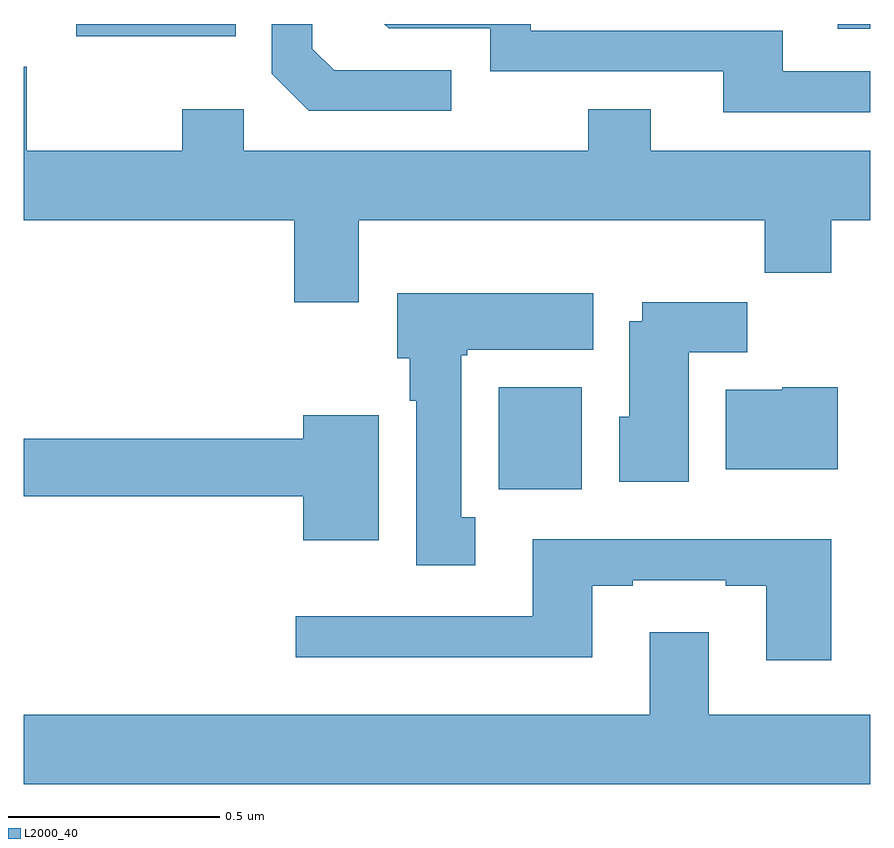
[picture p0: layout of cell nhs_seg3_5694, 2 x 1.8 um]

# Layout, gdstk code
import gdstk
lib = gdstk.Library(unit=1e-6, precision=1e-09)
def R(c, l, rs):  # rectangles x0, y0, x1, y1
    for r in rs: c.add(gdstk.rectangle(r[:2], r[2:], *l))
def P(c, l, *ps):  # polygons
    for p in ps: c.add(gdstk.Polygon(p, *l))
L2000_40 = (2000, 40)

nhs_seg3_5694 = lib.new_cell('nhs_seg3_5694')
R(nhs_seg3_5694, L2000_40, [(183.122,680.3,183.319,680.542), (182.124,681.371,182.501,681.4), (183.923,681.389,184,681.4)])
P(nhs_seg3_5694, L2000_40, [(183.01,681.291),(182.733,681.291),(182.682,681.342),(182.682,681.4),(182.586,681.4),(182.586,681.282),(182.673,681.195),(183.01,681.195)],
  [(184,681.288),(183.793,681.288),(183.793,681.384),(183.198,681.384),(183.198,681.4),(182.852,681.4),(182.862,681.39),(183.102,681.39),(183.102,681.288),(183.653,681.288),(183.653,681.192),(184,681.192)],
  [(182.791,680.936),(183.751,680.936),(183.751,680.812),(183.908,680.812),(183.908,680.936),(184,680.936),(184,681.1),(183.481,681.1),(183.481,681.199),(183.334,681.199),(183.334,681.1),(182.52,681.1),(182.52,681.199),(182.374,681.199),(182.374,681.1),(182.007,681.1),(182.007,681.299),(182,681.299),(182,680.936),(182.639,680.936),(182.639,680.742),(182.791,680.742)],
  [(183.067,680.234),(183.034,680.234),(183.034,680.617),(183.048,680.617),(183.048,680.63),(183.346,680.63),(183.346,680.764),(182.882,680.764),(182.882,680.61),(182.912,680.61),(182.912,680.51),(182.927,680.51),(182.927,680.121),(183.067,680.121)],
  [(183.571,680.624),(183.71,680.624),(183.71,680.743),(183.461,680.743),(183.461,680.698),(183.431,680.698),(183.431,680.472),(183.407,680.472),(183.407,680.318),(183.571,680.318)],
  [(183.923,680.542),(183.792,680.542),(183.792,680.536),(183.659,680.536),(183.659,680.348),(183.923,680.348)],
  [(182.839,680.476),(182.66,680.476),(182.66,680.42),(182,680.42),(182,680.284),(182.66,680.284),(182.66,680.18),(182.839,680.18)],
  [(183.908,680.182),(183.203,680.182),(183.203,680.001),(182.643,680.001),(182.643,679.904),(183.343,679.904),(183.343,680.073),(183.439,680.073),(183.439,680.085),(183.659,680.085),(183.659,680.073),(183.755,680.073),(183.755,679.896),(183.908,679.896)],
  [(184,679.768),(183.619,679.768),(183.619,679.963),(183.479,679.963),(183.479,679.768),(182,679.768),(182,679.604),(184,679.604)])

lib.write_gds('nhs_seg3_5694.gds')
